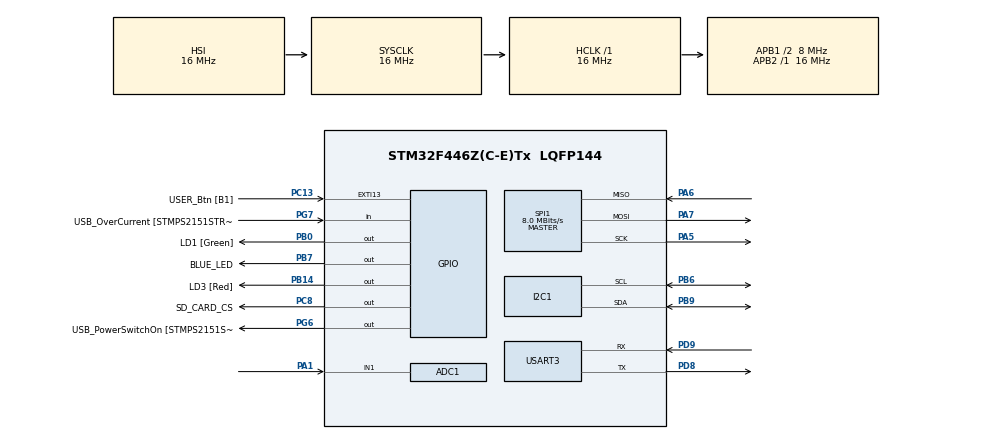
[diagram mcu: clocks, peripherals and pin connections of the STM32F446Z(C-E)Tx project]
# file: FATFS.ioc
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ADC1.Channel-0\#ChannelRegularConversion=ADC_CHANNEL_1
ADC1.NbrOfConversion=1
ADC1.NbrOfConversionFlag=1
ADC1.Rank-0\#ChannelRegularConversion=1
ADC1.SamplingTime-0\#ChannelRegularConversion=ADC_SAMPLETIME_3CYCLES
ADC1.master=1
Mcu.Family=STM32F4
Mcu.Name=STM32F446Z(C-E)Tx
Mcu.Package=LQFP144
NVIC.PriorityGroup=NVIC_PRIORITYGROUP_4
PA1.Signal=ADCx_IN1
PA11.GPIO_Label=USB_DM
PA11.Signal=USB_OTG_FS_DM
PA12.GPIO_Label=USB_DP
PA12.Signal=USB_OTG_FS_DP
PA14.GPIO_Label=TCK
PA14.Signal=SYS_JTCK-SWCLK
PA5.Mode=Full_Duplex_Master
PA5.Signal=SPI1_SCK
PA6.Mode=Full_Duplex_Master
PA6.Signal=SPI1_MISO
PA7.Mode=Full_Duplex_Master
PA7.Signal=SPI1_MOSI
PA8.GPIO_Label=USB_SOF [TP1]
PA8.Signal=USB_OTG_FS_SOF
PA9.GPIO_Label=USB_VBUS
PA9.Signal=USB_OTG_FS_VBUS
PB0.GPIO_Label=LD1 [Green]
PB0.Signal=GPIO_Output
PB14.GPIO_Label=LD3 [Red]
PB14.Signal=GPIO_Output
PB6.Mode=I2C
PB6.Signal=I2C1_SCL
PB7.GPIO_Label=BLUE_LED
PB7.Signal=GPIO_Output
PB9.Mode=I2C
PB9.Signal=I2C1_SDA
PC13.GPIO_Label=USER_Btn [B1]
PC13.Signal=GPXTI13
PC14-OSC32_IN.Signal=RCC_OSC32_IN
PC15-OSC32_OUT.Signal=RCC_OSC32_OUT
PC8.GPIO_Label=SD_CARD_CS
PC8.Signal=GPIO_Output
PD8.Mode=Asynchronous
PD8.Signal=USART3_TX
PD9.Mode=Asynchronous
PD9.Signal=USART3_RX
PG6.GPIO_Label=USB_PowerSwitchOn [STMPS2151STR_EN]
PG6.Signal=GPIO_Output
PG7.GPIO_Label=USB_OverCurrent [STMPS2151STR_FAULT]
PG7.Signal=GPIO_Input
PH0-OSC_IN.GPIO_Label=MCO [STM32F103CBT6_PA8]
PH0-OSC_IN.Signal=RCC_OSC_IN
PH1-OSC_OUT.Signal=RCC_OSC_OUT
ProjectManager.HeapSize=0x200
ProjectManager.StackSize=0x400
ProjectManager.TargetToolchain=STM32CubeIDE
RCC.48MHZClocksFreq_Value=24000000
RCC.AHBFreq_Value=16000000
RCC.APB1CLKDivider=RCC_HCLK_DIV2
RCC.APB1Freq_Value=8000000
RCC.APB1TimFreq_Value=16000000
RCC.APB2Freq_Value=16000000
RCC.APB2TimFreq_Value=16000000
RCC.CortexFreq_Value=16000000
RCC.HCLKFreq_Value=16000000
RCC.HSE_VALUE=8000000
RCC.HSI_VALUE=16000000
RCC.LSE_VALUE=32768
RCC.PLLMUL=RCC_PLL_MUL9
RCC.PRESCALERUSB=RCC_USBCLKSOURCE_PLL_DIV1_5
RCC.SYSCLKFreq_VALUE=16000000
RCC.SYSCLKSourceVirtual=RCC_SYSCLKSOURCE_PLLCLK
RCC.USBFreq_Value=96000000
RCC.VCOOutputFreq_Value=192000000
SH.ADCx_IN1.0=ADC1_IN1,IN1
SPI1.CalculateBaudRate=8.0 MBits/s
SPI1.Direction=SPI_DIRECTION_2LINES
SPI1.Mode=SPI_MODE_MASTER
SPI1.VirtualType=VM_MASTER
USART3.VirtualMode=VM_ASYNC
board=NUCLEO-F446ZE

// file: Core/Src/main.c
/* USER CODE BEGIN Header */
/**
  ******************************************************************************
  * @file           : main.c
  * @brief          : Main program body
  ******************************************************************************
  * @attention
  *
  * Copyright (c) 2025 STMicroelectronics.
  * All rights reserved.
  *
  * This software is licensed under terms that can be found in the LICENSE file
  * in the root directory of this software component.
  * If no LICENSE file comes with this software, it is provided AS-IS.
  *
  ******************************************************************************
  */
/* USER CODE END Header */
#include "main.h"

/* USER CODE BEGIN Includes */
#include "stdio.h"
#include "stdint.h"
/* USER CODE END Includes */

/* USER CODE BEGIN PTD */
#ifdef __GNUC__
/* With GCC, small printf (option LD Linker->Libraries->Small printf
   set to 'Yes') calls __io_putchar() */
#define PUTCHAR_PROTOTYPE int __io_putchar(int ch)
#else
#define PUTCHAR_PROTOTYPE int fputc(int ch, FILE *f)
#endif /* __GNUC__ */
/* USER CODE END PTD */

/* USER CODE BEGIN PD */
void enable_fpu_coprocessors();
/* USER CODE END PD */

ADC_HandleTypeDef hadc1;

I2C_HandleTypeDef hi2c1;

SPI_HandleTypeDef hspi1;

UART_HandleTypeDef huart3;

void SystemClock_Config(void);
static void MX_GPIO_Init(void);
static void MX_USART3_UART_Init(void);
static void MX_ADC1_Init(void);
static void MX_I2C1_Init(void);
static void MX_SPI1_Init(void);

/* USER CODE BEGIN 0 */
int temp;
/* USER CODE END 0 */

int main(void)
{

  /* MCU Configuration--------------------------------------------------------*/

  /* Reset of all peripherals, Initializes the Flash interface and the Systick. */
  HAL_Init();

  /* Configure the system clock */
  SystemClock_Config();

  /* Initialize all configured peripherals */
  MX_GPIO_Init();
  MX_USART3_UART_Init();
  MX_ADC1_Init();
  MX_I2C1_Init();
  MX_SPI1_Init();
  /* USER CODE BEGIN 2 */
  enable_fpu_coprocessors();
  /* USER CODE END 2 */

  /* Infinite loop */
  /* USER CODE BEGIN WHILE */
  while (1)
  {
	  HAL_ADC_Start(&hadc1);
	  temp= HAL_ADC_GetValue(&hadc1);
	  HAL_Delay(1000);
    /* USER CODE END WHILE */

  }
}

void SystemClock_Config(void)
{
  RCC_OscInitTypeDef RCC_OscInitStruct = {0};
  RCC_ClkInitTypeDef RCC_ClkInitStruct = {0};

  /** Configure the main internal regulator output voltage
  */
  __HAL_RCC_PWR_CLK_ENABLE();
  __HAL_PWR_VOLTAGESCALING_CONFIG(PWR_REGULATOR_VOLTAGE_SCALE3);

  /** Initializes the RCC Oscillators according to the specified parameters
  * in the RCC_OscInitTypeDef structure.
  */
  RCC_OscInitStruct.OscillatorType = RCC_OSCILLATORTYPE_HSI;
  RCC_OscInitStruct.HSIState = RCC_HSI_ON;
  RCC_OscInitStruct.HSICalibrationValue = RCC_HSICALIBRATION_DEFAULT;
  RCC_OscInitStruct.PLL.PLLState = RCC_PLL_NONE;
  if (HAL_RCC_OscConfig(&RCC_OscInitStruct) != HAL_OK)
  {
    Error_Handler();
  }

  /** Initializes the CPU, AHB and APB buses clocks
  */
  RCC_ClkInitStruct.ClockType = RCC_CLOCKTYPE_HCLK|RCC_CLOCKTYPE_SYSCLK
                              |RCC_CLOCKTYPE_PCLK1|RCC_CLOCKTYPE_PCLK2;
  RCC_ClkInitStruct.SYSCLKSource = RCC_SYSCLKSOURCE_HSI;
  RCC_ClkInitStruct.AHBCLKDivider = RCC_SYSCLK_DIV1;
  RCC_ClkInitStruct.APB1CLKDivider = RCC_HCLK_DIV2;
  RCC_ClkInitStruct.APB2CLKDivider = RCC_HCLK_DIV1;

  if (HAL_RCC_ClockConfig(&RCC_ClkInitStruct, FLASH_LATENCY_0) != HAL_OK)
  {
    Error_Handler();
  }
}

static void MX_ADC1_Init(void)
{

  ADC_ChannelConfTypeDef sConfig = {0};

  /** Configure the global features of the ADC (Clock, Resolution, Data Alignment and number of conversion)
  */
  hadc1.Instance = ADC1;
  hadc1.Init.ClockPrescaler = ADC_CLOCK_SYNC_PCLK_DIV2;
  hadc1.Init.Resolution = ADC_RESOLUTION_12B;
  hadc1.Init.ScanConvMode = DISABLE;
  hadc1.Init.ContinuousConvMode = DISABLE;
  hadc1.Init.DiscontinuousConvMode = DISABLE;
  hadc1.Init.ExternalTrigConvEdge = ADC_EXTERNALTRIGCONVEDGE_NONE;
  hadc1.Init.ExternalTrigConv = ADC_SOFTWARE_START;
  hadc1.Init.DataAlign = ADC_DATAALIGN_RIGHT;
  hadc1.Init.NbrOfConversion = 1;
  hadc1.Init.DMAContinuousRequests = DISABLE;
  hadc1.Init.EOCSelection = ADC_EOC_SINGLE_CONV;
  if (HAL_ADC_Init(&hadc1) != HAL_OK)
  {
    Error_Handler();
  }

  /** Configure for the selected ADC regular channel its corresponding rank in the sequencer and its sample time.
  */
  sConfig.Channel = ADC_CHANNEL_1;
  sConfig.Rank = 1;
  sConfig.SamplingTime = ADC_SAMPLETIME_3CYCLES;
  if (HAL_ADC_ConfigChannel(&hadc1, &sConfig) != HAL_OK)
  {
    Error_Handler();
  }

}

static void MX_I2C1_Init(void)
{

  hi2c1.Instance = I2C1;
  hi2c1.Init.ClockSpeed = 100000;
  hi2c1.Init.DutyCycle = I2C_DUTYCYCLE_2;
  hi2c1.Init.OwnAddress1 = 0;
  hi2c1.Init.AddressingMode = I2C_ADDRESSINGMODE_7BIT;
  hi2c1.Init.DualAddressMode = I2C_DUALADDRESS_DISABLE;
  hi2c1.Init.OwnAddress2 = 0;
  hi2c1.Init.GeneralCallMode = I2C_GENERALCALL_DISABLE;
  hi2c1.Init.NoStretchMode = I2C_NOSTRETCH_DISABLE;
  if (HAL_I2C_Init(&hi2c1) != HAL_OK)
  {
    Error_Handler();
  }

}

static void MX_SPI1_Init(void)
{

  /* SPI1 parameter configuration*/
  hspi1.Instance = SPI1;
  hspi1.Init.Mode = SPI_MODE_MASTER;
  hspi1.Init.Direction = SPI_DIRECTION_2LINES;
  hspi1.Init.DataSize = SPI_DATASIZE_8BIT;
  hspi1.Init.CLKPolarity = SPI_POLARITY_LOW;
  hspi1.Init.CLKPhase = SPI_PHASE_1EDGE;
  hspi1.Init.NSS = SPI_NSS_SOFT;
  hspi1.Init.BaudRatePrescaler = SPI_BAUDRATEPRESCALER_2;
  hspi1.Init.FirstBit = SPI_FIRSTBIT_MSB;
  hspi1.Init.TIMode = SPI_TIMODE_DISABLE;
  hspi1.Init.CRCCalculation = SPI_CRCCALCULATION_DISABLE;
  hspi1.Init.CRCPolynomial = 10;
  if (HAL_SPI_Init(&hspi1) != HAL_OK)
  {
    Error_Handler();
  }

}

static void MX_USART3_UART_Init(void)
{

  huart3.Instance = USART3;
  huart3.Init.BaudRate = 115200;
  huart3.Init.WordLength = UART_WORDLENGTH_8B;
  huart3.Init.StopBits = UART_STOPBITS_1;
  huart3.Init.Parity = UART_PARITY_NONE;
  huart3.Init.Mode = UART_MODE_TX_RX;
  huart3.Init.HwFlowCtl = UART_HWCONTROL_NONE;
  huart3.Init.OverSampling = UART_OVERSAMPLING_16;
  if (HAL_UART_Init(&huart3) != HAL_OK)
  {
    Error_Handler();
  }

}

static void MX_GPIO_Init(void)
{
  GPIO_InitTypeDef GPIO_InitStruct = {0};

  /* GPIO Ports Clock Enable */
  __HAL_RCC_GPIOC_CLK_ENABLE();
  __HAL_RCC_GPIOH_CLK_ENABLE();
  __HAL_RCC_GPIOA_CLK_ENABLE();
  __HAL_RCC_GPIOB_CLK_ENABLE();
  __HAL_RCC_GPIOD_CLK_ENABLE();
  __HAL_RCC_GPIOG_CLK_ENABLE();

  /*Configure GPIO pin Output Level */
  HAL_GPIO_WritePin(GPIOB, LD1_Pin|LD3_Pin|BLUE_LED_Pin, GPIO_PIN_RESET);

  /*Configure GPIO pin Output Level */
  HAL_GPIO_WritePin(USB_PowerSwitchOn_GPIO_Port, USB_PowerSwitchOn_Pin, GPIO_PIN_RESET);

  /*Configure GPIO pin Output Level */
  HAL_GPIO_WritePin(SD_CARD_CS_GPIO_Port, SD_CARD_CS_Pin, GPIO_PIN_RESET);

  /*Configure GPIO pin : USER_Btn_Pin */
  GPIO_InitStruct.Pin = USER_Btn_Pin;
  GPIO_InitStruct.Mode = GPIO_MODE_IT_RISING;
  GPIO_InitStruct.Pull = GPIO_NOPULL;
  HAL_GPIO_Init(USER_Btn_GPIO_Port, &GPIO_InitStruct);

  /*Configure GPIO pins : LD1_Pin LD3_Pin BLUE_LED_Pin */
  GPIO_InitStruct.Pin = LD1_Pin|LD3_Pin|BLUE_LED_Pin;
  GPIO_InitStruct.Mode = GPIO_MODE_OUTPUT_PP;
  GPIO_InitStruct.Pull = GPIO_NOPULL;
  GPIO_InitStruct.Speed = GPIO_SPEED_FREQ_LOW;
  HAL_GPIO_Init(GPIOB, &GPIO_InitStruct);

  /*Configure GPIO pin : USB_PowerSwitchOn_Pin */
  GPIO_InitStruct.Pin = USB_PowerSwitchOn_Pin;
  GPIO_InitStruct.Mode = GPIO_MODE_OUTPUT_PP;
  GPIO_InitStruct.Pull = GPIO_NOPULL;
  GPIO_InitStruct.Speed = GPIO_SPEED_FREQ_LOW;
  HAL_GPIO_Init(USB_PowerSwitchOn_GPIO_Port, &GPIO_InitStruct);

  /*Configure GPIO pin : USB_OverCurrent_Pin */
  GPIO_InitStruct.Pin = USB_OverCurrent_Pin;
  GPIO_InitStruct.Mode = GPIO_MODE_INPUT;
  GPIO_InitStruct.Pull = GPIO_NOPULL;
  HAL_GPIO_Init(USB_OverCurrent_GPIO_Port, &GPIO_InitStruct);

  /*Configure GPIO pin : SD_CARD_CS_Pin */
  GPIO_InitStruct.Pin = SD_CARD_CS_Pin;
  GPIO_InitStruct.Mode = GPIO_MODE_OUTPUT_PP;
  GPIO_InitStruct.Pull = GPIO_NOPULL;
  GPIO_InitStruct.Speed = GPIO_SPEED_FREQ_LOW;
  HAL_GPIO_Init(SD_CARD_CS_GPIO_Port, &GPIO_InitStruct);

  /*Configure GPIO pins : USB_SOF_Pin USB_DM_Pin USB_DP_Pin */
  GPIO_InitStruct.Pin = USB_SOF_Pin|USB_DM_Pin|USB_DP_Pin;
  GPIO_InitStruct.Mode = GPIO_MODE_AF_PP;
  GPIO_InitStruct.Pull = GPIO_NOPULL;
  GPIO_InitStruct.Speed = GPIO_SPEED_FREQ_VERY_HIGH;
  GPIO_InitStruct.Alternate = GPIO_AF10_OTG_FS;
  HAL_GPIO_Init(GPIOA, &GPIO_InitStruct);

  /*Configure GPIO pin : USB_VBUS_Pin */
  GPIO_InitStruct.Pin = USB_VBUS_Pin;
  GPIO_InitStruct.Mode = GPIO_MODE_INPUT;
  GPIO_InitStruct.Pull = GPIO_NOPULL;
  HAL_GPIO_Init(USB_VBUS_GPIO_Port, &GPIO_InitStruct);

}

/* USER CODE BEGIN 4 */

/* Code taken from ARM Cortex M4 TRM */
void enable_fpu_coprocessors(void) {
    // The following inline assembly code enables the CP10 and CP11 coprocessors.
    // This is often required for using a Floating-Point Unit (FPU).

    asm volatile (
        // Load the address of the CPACR register into R0.
        // The `=L` constraint tells the compiler to use a 32-bit immediate
        // which can be loaded with LDR.W.
        "LDR.W R0, =0xE000ED88\n"

        // Read the current value of the CPACR into R1.
        "LDR R1, [R0]\n"

        // OR the value with 0xF shifted left by 20 bits to set bits 20-23.
        "ORR R1, R1, #0xF << 20\n"

        // Write the modified value back to the CPACR.
        "STR R1, [R0]\n"

        // The "clobber" list tells the compiler which registers
        // were modified by the assembly code.
        // In this case, we used R0 and R1.
        : // No output operands
        : // No input operands
        : "r0", "r1" // Clobbered registers
    );
}

PUTCHAR_PROTOTYPE
{
  /* Place your implementation of fputc here */
  /* e.g. write a character to the USART1 and Loop until the end of transmission */
  HAL_UART_Transmit(&huart3, (uint8_t *)&ch, 1, 0xFFFF);

  return ch;
}
/* USER CODE END 4 */

void Error_Handler(void)
{
  __disable_irq();
  while (1)
  {
  }
}
